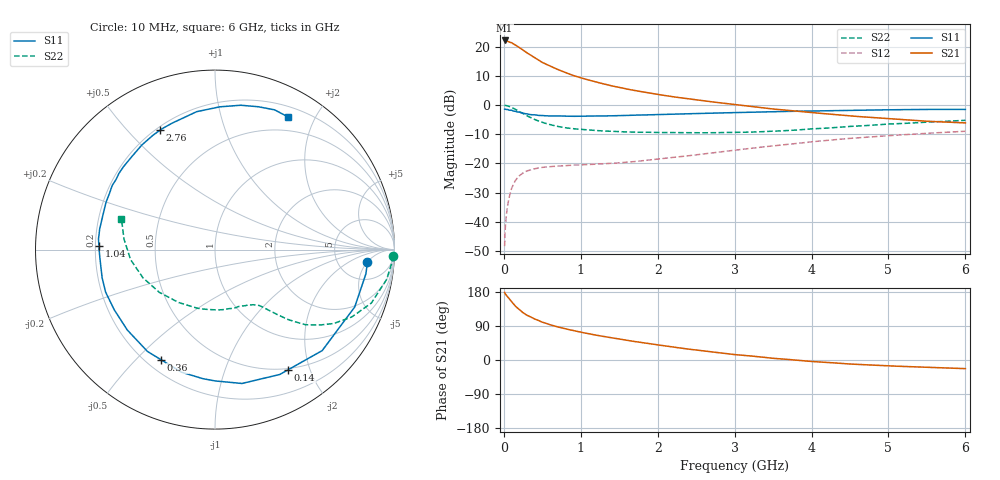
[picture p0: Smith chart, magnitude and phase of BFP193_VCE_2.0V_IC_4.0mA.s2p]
! Infineon Technologies  Discrete & RF Semiconductors
! BFP193
! VCE = 2.0 V,  IC =  4.0 mA
! Common Emitter S-Parameters:  Jan 2016
# GHz  S  MA  R  50
!  f  S11  S21  S12  S22
! GHz  MAG  ANG  MAG  ANG  MAG  ANG  MAG  ANG
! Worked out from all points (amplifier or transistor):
!   210 points, 10 MHz to 6 GHz, reference 50 ohm
!   highest |S21| = 22.2 dB at 10 MHz (marker M1)
!   |S21| within 3 dB of that: start of sweep to 232.7 MHz
!   unconditionally stable (mu >= 1): 1.328 GHz to 3.613 GHz
!   at 185 MHz: K = 0.18, MSG = 22.4 dB, |S12| = -24.8 dB
!   at 1.52 GHz: K = 1.07, MAG = 11.2 dB, |S12| = -19.8 dB
!   at 6 GHz: K = 0.93, MSG = 1.4 dB, |S12| = -9.0 dB
!   S11 on the Smith chart (normalised r, x): 10 MHz: 10, -5; 140 MHz: 0.48, -1.68; 360 MHz: 0.26, -0.59; 1.04 GHz: 0.21, +0.01; 2.76 GHz: 0.22, +0.62; 6 GHz: 0.32, +1.65
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0.01  0.8521 -4.8  12.87 178.3  0.0038 89.8  0.9902 -2.0
0.02  0.8516 -9.1  12.68 174.1  0.0082 85.3  0.9892 -4.0
0.055  0.8346 -24.3  12.34 165.3  0.021 76.3  0.9644 -10.8
0.1  0.8206 -43.3  11.79 154.0  0.037 69.3  0.9204 -18.9
0.14  0.7837 -58.6  10.94 144.5  0.0479 60.7  0.8618 -24.7
0.2  0.7609 -78.6  9.787 133.0  0.061 51.7  0.7793 -31.9
0.24  0.7316 -90.0  8.967 126.4  0.0672 46.8  0.7241 -35.4
0.3  0.7081 -105.2  7.909 118.1  0.0742 41.8  0.6552 -39.7
0.36  0.6833 -116.0  7.03 112.6  0.0781 37.8  0.6007 -42.0
0.4  0.681 -123.5  6.488 108.2  0.0809 35.3  0.5649 -43.7
0.5  0.6629 -137.5  5.404 99.8  0.0855 31.8  0.5055 -46.0
0.6  0.6539 -149.1  4.671 93.0  0.0881 29.4  0.4623 -47.9
0.8  0.6482 -165.9  3.616 82.2  0.0915 27.5  0.4085 -50.8
1.02  0.6459 179.7  2.889 72.6  0.0948 27.5  0.3817 -53.9
1.04  0.6469 178.4  2.841 71.8  0.095 27.6  0.3796 -54.2
1.4  0.6552 160.5  2.144 58.6  0.1001 30.3  0.3565 -61.1
2.02  0.6882 137.3  1.513 39.4  0.1188 36.8  0.3384 -75.9
2.76  0.7324 114.7  1.117 20.0  0.154 40.3  0.3366 -98.6
3.1  0.7479 106.4  0.986 12.6  0.1745 39.7  0.3418 -110.5
4.1  0.7987 86.4  0.726 -5.1  0.2416 33.2  0.3964 -146.0
5.1  0.834 71.8  0.574 -16.3  0.3049 22.1  0.4791 -176.1
6  0.8438 61.1  0.495 -22.8  0.3558 11.1  0.5492 161.7
